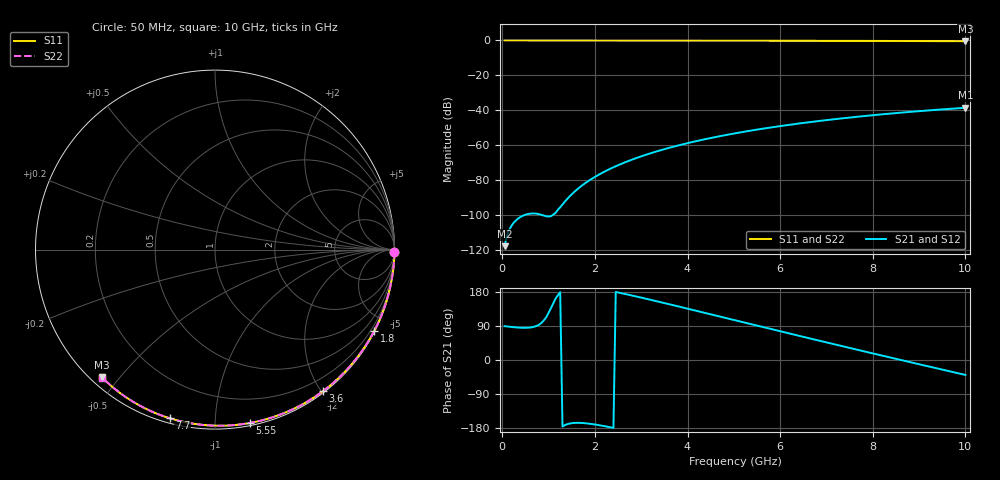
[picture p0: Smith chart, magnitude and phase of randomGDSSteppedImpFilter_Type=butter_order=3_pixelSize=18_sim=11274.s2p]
! freq	dB(S11)	phase(S11)	dB(S12)	phase(S12)
!  dB(S21)	phase(S21)	dB(S22)	phase(S22)
!S-par simulation data
#  GHz  S  DB  R 50
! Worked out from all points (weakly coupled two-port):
!   200 points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, 50 MHz to 10 GHz, reference 50 ohm
!   highest |S21| = -38.59 dB at 10 GHz (marker M1); lowest = -117.9 dB at 50 MHz (marker M2)
!   lowest |S11| = -0.4 dB at 10 GHz (marker M3), VSWR 39.40, Z = 1.53 - j22.5 ohm
!   |S11| at or under -10 dB: nowhere
!   |S22| runs from -0.4 to 0.0 dB; largest |S21 - S12| = 0
!   S11 on the Smith chart (normalised r, x): 50 MHz: open; 1.8 GHz: 0.04, -4.18; 3.6 GHz: 0.02, -2.02; 5.55 GHz: 0.02, -1.22; 7.7 GHz: 0.02, -0.77; 10 GHz: 0.03, -0.45
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0.05  -0.00 -0.8  -117.88 89.3  -117.88 89.3  -0.00 -0.8
0.45  -0.01 -6.8  -100.35 85.0  -100.35 85.0  -0.01 -6.8
0.9  -0.02 -13.6  -100.39 105.0  -100.39 105.0  -0.02 -13.6
1.75  -0.03 -26.2  -82.55 -166.4  -82.55 -166.4  -0.03 -26.2
1.8  -0.03 -26.9  -81.59 -167.0  -81.59 -167.0  -0.03 -26.9
1.9  -0.04 -28.4  -79.82 -168.4  -79.82 -168.4  -0.04 -28.4
2.05  -0.04 -30.6  -77.40 -171.2  -77.40 -171.2  -0.04 -30.6
2.25  -0.04 -33.5  -74.57 -175.6  -74.57 -175.6  -0.04 -33.5
2.45  -0.05 -36.4  -72.07 179.5  -72.07 179.5  -0.05 -36.4
2.65  -0.05 -39.3  -69.83 174.3  -69.83 174.3  -0.05 -39.3
3  -0.06 -44.3  -66.40 164.6  -66.40 164.6  -0.06 -44.2
3.4  -0.07 -49.9  -63.05 153.1  -63.05 153.1  -0.07 -49.9
3.6  -0.07 -52.7  -61.55 147.3  -61.55 147.3  -0.07 -52.6
4.3  -0.09 -62.2  -57.03 126.6  -57.03 126.6  -0.09 -62.2
5.05  -0.11 -72.2  -53.10 104.2  -53.10 104.2  -0.11 -72.2
5.55  -0.13 -78.7  -50.87 89.2  -50.87 89.2  -0.13 -78.6
6.1  -0.15 -85.6  -48.69 72.9  -48.69 72.9  -0.15 -85.6
6.7  -0.18 -93.1  -46.60 55.2  -46.60 55.2  -0.18 -93.0
7.7  -0.24 -105.1  -43.62 26.0  -43.62 26.0  -0.24 -105.0
8.35  -0.29 -112.7  -41.97 7.3  -41.97 7.3  -0.29 -112.6
9.15  -0.35 -121.8  -40.19 -15.5  -40.19 -15.5  -0.36 -121.7
10  -0.44 -131.4  -38.59 -39.4  -38.59 -39.4  -0.44 -131.3
